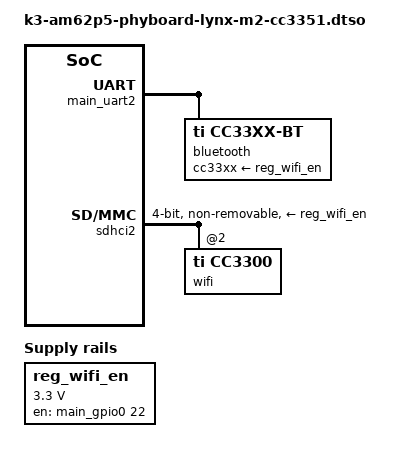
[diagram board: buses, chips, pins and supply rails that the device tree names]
// SPDX-License-Identifier: GPL-2.0-only OR MIT
/*
 * Copyright (C) 2025 PHYTEC America LLC
 * Author: John Ma <jma@phytec.com>
 */

/dts-v1/;
/plugin/;

#include <dt-bindings/gpio/gpio.h>
#include <dt-bindings/interrupt-controller/irq.h>
#include "k3-pinctrl.h"

&{/} {
	aliases {
		serial4 = "/bus@f0000/serial@2820000";
	};

	reg_wifi_en: fixed-regulator-wifi-en {
		compatible = "regulator-fixed";
		regulator-name = "wifi_en";
		regulator-min-microvolt = <3300000>;
		regulator-max-microvolt = <3300000>;
		pinctrl-names = "default";
		pinctrl-0 = <&wifi_en_pins_default>;
		gpio = <&main_gpio0 22 GPIO_ACTIVE_HIGH>;
		regulator-always-on;
		enable-active-high;
	};
};

&main_pmx0 {
	bt_en_pins_default: bt-en-pins-default{
		pinctrl-single,pins = <
			AM62PX_IOPAD(0x0054, PIN_INPUT, 7) /* (V24) GPMC0_AD6.GPIO0_21 */
		>;
	};

	bt_uart2_pins_default: bt-uart2-pins-default {
		pinctrl-single,pins = <
			AM62PX_IOPAD(0x0074, PIN_INPUT, 8) /* (AB24) GPMC0_AD14.UART2_CTSn */
			AM62PX_IOPAD(0x0078, PIN_OUTPUT, 8) /* (AC24) GPMC0_AD15.UART2_RTSn */
			AM62PX_IOPAD(0x005c, PIN_INPUT, 2) /* (AC25) GPMC0_AD8.UART2_RXD */
			AM62PX_IOPAD(0x0060, PIN_OUTPUT, 2) /* (AB25) GPMC0_AD9.UART2_TXD */
		>;
	};

	main_mmc2_wifi_pins_default: main-mmc2-wifi-pins-default {
		pinctrl-single,pins = <
			AM62PX_IOPAD(0x0120, PIN_INPUT, 0) /* (K24) MMC2_CMD */
			AM62PX_IOPAD(0x0118, PIN_INPUT, 0) /* (K21) MMC2_CLK */
			AM62PX_IOPAD(0x011C, PIN_INPUT, 0) /* () MMC2_CLKLB */
			AM62PX_IOPAD(0x0114, PIN_INPUT, 0) /* (K23) MMC2_DAT0 */
			AM62PX_IOPAD(0x0110, PIN_INPUT, 0) /* (K22) MMC2_DAT1 */
			AM62PX_IOPAD(0x010c, PIN_INPUT, 0) /* (L20) MMC2_DAT2 */
			AM62PX_IOPAD(0x0108, PIN_INPUT, 0) /* (L21) MMC2_DAT3 */
		>;
	};

	wifi_en_pins_default: wifi-en-pins-default {
		pinctrl-single,pins = <
			AM62PX_IOPAD(0x0058, PIN_INPUT, 7) /* (W25) GPMC0_AD7.GPIO0_22 */
		>;
	};
};

&main_uart2 {
	pinctrl-names = "default";
	pinctrl-0 = <&bt_uart2_pins_default>;
	uart-has-rtscts;
	status = "okay";

	bluetooth {
		compatible = "ti,cc33xx-bt";
		pinctrl-names = "default";
		pinctrl-0 = <&bt_en_pins_default>;
		cc33xx-supply = <&reg_wifi_en>;
		max-speed = <115200>;
	};
};

&sdhci2 {
	vmmc-supply = <&reg_wifi_en>;
	pinctrl-names = "default";
	pinctrl-0 = <&main_mmc2_wifi_pins_default>;
	bus-width = <4>;
	non-removable;
	ti,fails-without-test-cd;
	cap-power-off-card;
	keep-power-in-suspend;
	ti,driver-strength-ohm = <50>;
	#address-cells = <1>;
	#size-cells = <0>;
	status = "okay";

	wifi: cc3300@2 {
		compatible = "ti,cc3300";
		reg = <2>;
	};
};
